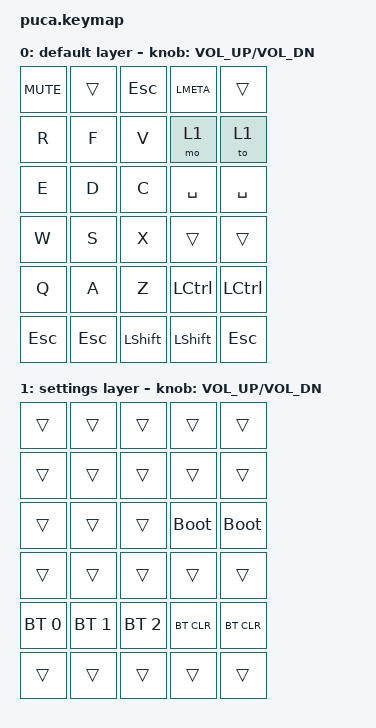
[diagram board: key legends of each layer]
/*
 * Copyright (c) 2021 The ZMK Contributors
 *
 * SPDX-License-Identifier: MIT
 */

#include <behaviors.dtsi>
#include <dt-bindings/zmk/keys.h>
#include <dt-bindings/zmk/bt.h>
#include <dt-bindings/zmk/rgb.h>


#define TIMEOUT 300

#define DEF 0
#define STG 1

 / {
    keymap0: keymap {
        compatible = "zmk,keymap";

        default_layer {
            label = "default layer";
            bindings = <
                &kp C_MUTE          &trans           &kp ESC          &kp LMETA           &trans
                &kp R               &kp F            &kp V            &mo 1               &to 1    
                &kp E               &kp D            &kp C            &kp SPACE           &kp SPACE  
                &kp W               &kp S            &kp X            &trans              &trans
                &kp Q               &kp A            &kp Z            &kp LCTRL           &kp LCTRL
                &kp ESC             &kp ESC          &kp LSHFT        &kp LSHFT           &kp ESC
            >;
            sensor-bindings = < &inc_dec_kp C_VOL_UP C_VOL_DN >;
        };

        settings_layer {
            label = "settings layer";
            bindings = <
                &trans          &trans          &trans          &trans          &trans
                &trans          &trans          &trans          &trans          &trans  
                &trans          &trans          &trans          &bootloader     &bootloader  
                &trans          &trans          &trans          &trans          &trans
                &bt BT_SEL 0    &bt BT_SEL 1    &bt BT_SEL 2    &bt BT_CLR      &bt BT_CLR
                &trans          &trans          &trans          &trans          &trans
            >;
            sensor-bindings = < &inc_dec_kp C_VOL_UP C_VOL_DN >;
        }; 

    };
};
